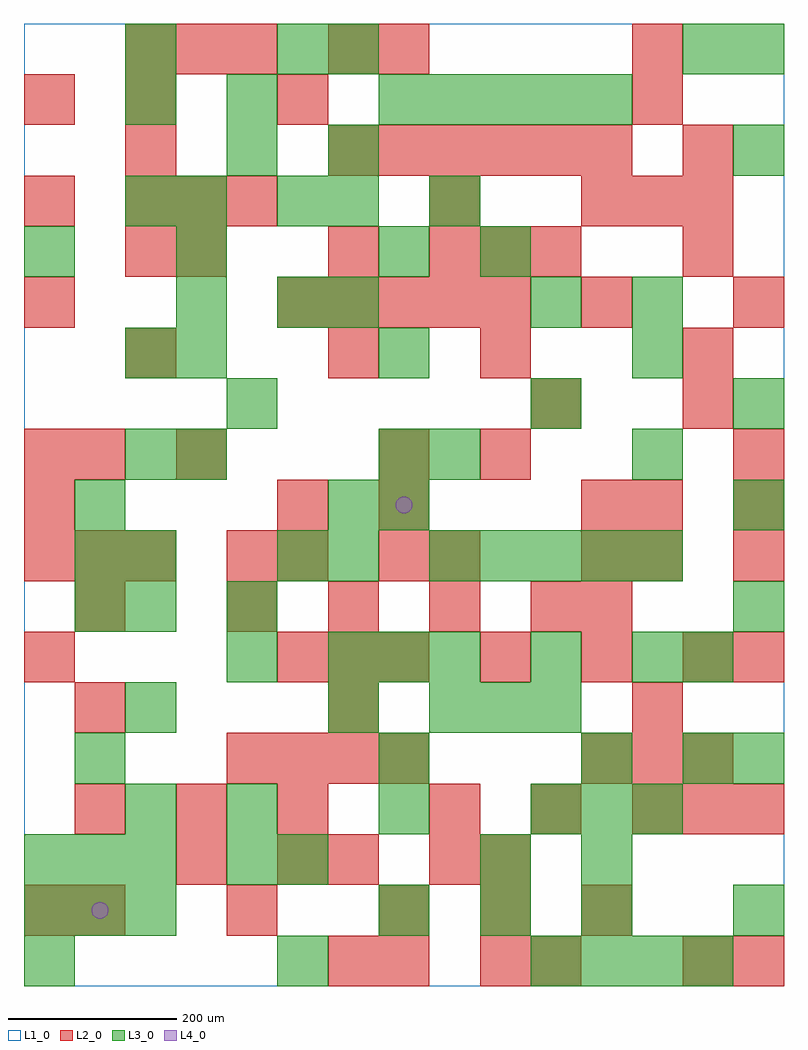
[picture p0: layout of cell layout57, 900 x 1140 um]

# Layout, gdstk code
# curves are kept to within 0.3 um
import gdstk
lib = gdstk.Library(unit=1e-6, precision=1e-09)
def R(c, l, rs):  # rectangles x0, y0, x1, y1
    for r in rs: c.add(gdstk.rectangle(r[:2], r[2:], *l))
def A(c, l, x, y, w, h, nx, ny, dx, dy):  # array of equal rectangles
    R(c, l, [(x+i*dx, y+j*dy, x+i*dx+w, y+j*dy+h) for i in range(nx) for j in range(ny)])
def P(c, l, *ps):  # polygons
    for p in ps: c.add(gdstk.Polygon(p, *l))
L1_0 = (1, 0)
L2_0 = (2, 0)
L3_0 = (3, 0)
L4_0 = (4, 0)

layout57 = lib.new_cell('layout57')
R(layout57, L1_0, [(0,0,900,1140)])
A(layout57, L2_0, 540, 0, 60, 60, 1, 3, 0, 60)
A(layout57, L2_0, 840, 0, 60, 60, 1, 3, 0, 180)
A(layout57, L2_0, 60, 60, 60, 60, 3, 1, 180, 0)
A(layout57, L2_0, 60, 180, 60, 60, 3, 1, 120, 0)
A(layout57, L2_0, 480, 180, 60, 60, 3, 1, 120, 0)
A(layout57, L2_0, 240, 240, 60, 60, 4, 1, 60, 0)
A(layout57, L2_0, 660, 240, 60, 60, 3, 2, 60, 660)
A(layout57, L2_0, 300, 360, 60, 60, 3, 1, 60, 0)
A(layout57, L2_0, 540, 360, 60, 60, 3, 1, 120, 0)
A(layout57, L2_0, 240, 420, 60, 60, 4, 1, 120, 0)
A(layout57, L2_0, 660, 420, 60, 60, 1, 3, 0, 60)
A(layout57, L2_0, 0, 480, 60, 60, 3, 1, 60, 0)
A(layout57, L2_0, 420, 480, 60, 60, 1, 3, 0, 60)
A(layout57, L2_0, 840, 480, 60, 60, 1, 3, 0, 60)
A(layout57, L2_0, 120, 720, 60, 60, 1, 3, 0, 120)
A(layout57, L2_0, 780, 720, 60, 60, 1, 3, 0, 120)
A(layout57, L2_0, 0, 780, 60, 60, 1, 3, 0, 120)
A(layout57, L2_0, 300, 780, 60, 60, 5, 1, 60, 0)
A(layout57, L2_0, 480, 840, 60, 60, 3, 1, 60, 0)
A(layout57, L2_0, 120, 900, 60, 60, 3, 2, 60, 180)
A(layout57, L2_0, 360, 960, 60, 60, 6, 1, 60, 0)
R(layout57, L2_0, [(360,0,420,60), (420,0,480,60), (600,0,660,60), (780,0,840,60), (0,60,60,120), (660,60,720,120), (180,120,240,180), (300,120,360,180), (360,120,420,180), (480,120,540,180), (780,180,840,240), (60,300,120,360), (360,300,420,360), (720,300,780,360), (0,360,60,420), (60,420,120,480), (240,480,300,540), (300,480,360,540), (480,480,540,540), (720,480,780,540), (0,540,60,600), (300,540,360,600), (720,540,780,600), (0,600,60,660), (60,600,120,660), (180,600,240,660), (540,600,600,660), (600,660,660,720), (780,660,840,720), (360,720,420,780), (540,720,600,780), (660,780,720,840), (840,780,900,840), (180,840,240,900), (360,840,420,900), (480,900,540,960), (120,1020,180,1080), (300,1020,360,1080), (720,1020,780,1080), (360,1080,420,1140), (420,1080,480,1140), (720,1080,780,1140)])
A(layout57, L3_0, 0, 0, 60, 60, 3, 1, 300, 0)
A(layout57, L3_0, 660, 0, 60, 60, 3, 1, 60, 0)
A(layout57, L3_0, 0, 60, 60, 60, 3, 2, 60, 60)
A(layout57, L3_0, 420, 60, 60, 60, 3, 1, 120, 0)
A(layout57, L3_0, 840, 60, 60, 60, 1, 3, 0, 180)
A(layout57, L3_0, 660, 120, 60, 60, 1, 3, 0, 60)
A(layout57, L3_0, 120, 180, 60, 60, 1, 3, 0, 120)
A(layout57, L3_0, 240, 180, 60, 60, 3, 1, 180, 0)
A(layout57, L3_0, 480, 300, 60, 60, 3, 1, 60, 0)
A(layout57, L3_0, 360, 360, 60, 60, 3, 1, 60, 0)
A(layout57, L3_0, 60, 420, 60, 60, 1, 3, 0, 60)
A(layout57, L3_0, 120, 480, 60, 60, 1, 3, 0, 120)
A(layout57, L3_0, 480, 480, 60, 60, 5, 1, 60, 0)
A(layout57, L3_0, 420, 600, 60, 60, 1, 3, 0, 120)
A(layout57, L3_0, 180, 720, 60, 60, 1, 4, 0, 60)
A(layout57, L3_0, 420, 1020, 60, 60, 5, 1, 60, 0)
R(layout57, L3_0, [(240,120,300,180), (300,120,360,180), (540,120,600,180), (720,180,780,240), (60,240,120,300), (420,240,480,300), (780,240,840,300), (360,300,420,360), (240,360,300,420), (600,360,660,420), (720,360,780,420), (780,360,840,420), (240,420,300,480), (300,480,360,540), (360,480,420,540), (360,540,420,600), (420,540,480,600), (840,540,900,600), (180,600,240,660), (480,600,540,660), (720,600,780,660), (240,660,300,720), (600,660,660,720), (840,660,900,720), (720,720,780,780), (300,780,360,840), (360,780,420,840), (600,780,660,840), (720,780,780,840), (0,840,60,900), (540,840,600,900), (120,900,180,960), (300,900,360,960), (360,900,420,960), (480,900,540,960), (240,960,300,1020), (360,960,420,1020), (840,960,900,1020), (120,1020,180,1080), (240,1020,300,1080), (120,1080,180,1140), (300,1080,360,1140), (360,1080,420,1140), (780,1080,840,1140), (840,1080,900,1140)])
P(layout57, L4_0, [(100,90),(99.239,93.827),(97.071,97.071),(93.827,99.239),(90,100),(86.173,99.239),(82.929,97.071),(80.761,93.827),(80,90),(80.761,86.173),(82.929,82.929),(86.173,80.761),(90,80),(93.827,80.761),(97.071,82.929),(99.239,86.173)],
  [(460,570),(459.239,573.827),(457.071,577.071),(453.827,579.239),(450,580),(446.173,579.239),(442.929,577.071),(440.761,573.827),(440,570),(440.761,566.173),(442.929,562.929),(446.173,560.761),(450,560),(453.827,560.761),(457.071,562.929),(459.239,566.173)])

lib.write_gds('layout57.gds')
